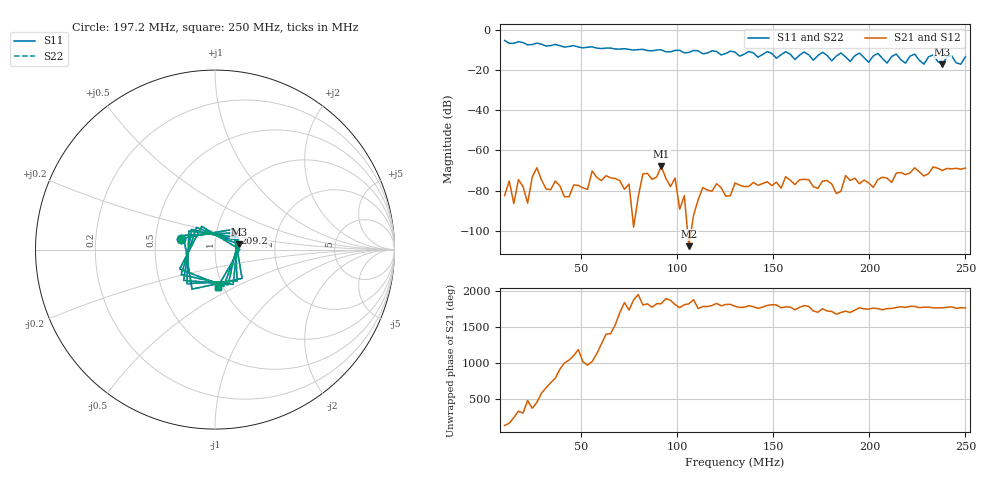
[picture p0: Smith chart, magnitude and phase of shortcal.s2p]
# Hz S RI R 50
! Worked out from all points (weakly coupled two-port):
!   101 points, 10 MHz to 250 MHz, reference 50 ohm
!   highest |S21| = -67.90 dB at 91.6 MHz (marker M1); lowest = -107.6 dB at 106 MHz (marker M2)
!   lowest |S11| = -17.3 dB at 238 MHz (marker M3), VSWR 1.32, Z = 65.3 + j3.87 ohm
!   |S11| at or under -10 dB: 75.67 MHz to 79.24 MHz (3.569 MHz wide, 4.61 % of centre); 82.61 MHz to end of sweep
!   |S22| runs from -17.3 to -5.4 dB; largest |S21 - S12| = 0
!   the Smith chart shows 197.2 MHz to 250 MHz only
!   S11 on the Smith chart (normalised r, x): 197.2 MHz: 0.67, +0.09; 209.2 MHz: 1.23, +0.23; 250 MHz: 0.94, -0.41
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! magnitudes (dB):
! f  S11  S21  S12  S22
! 10 MHz  -5.4  -82.4  -82.4  -5.4
! 17.2 MHz  -6.0  -74.5  -74.5  -6.0
! 22 MHz  -7.6  -86.2  -86.2  -7.6
! 26.8 MHz  -6.7  -68.7  -68.7  -6.7
! 31.6 MHz  -8.2  -79.1  -79.1  -8.2
! 50.8 MHz  -9.1  -78.6  -78.6  -9.1
! 53.2 MHz  -8.8  -79.4  -79.4  -8.8
! 55.6 MHz  -8.6  -70.2  -70.2  -8.6
! 79.6 MHz  -10.0  -83.1  -83.1  -10.0
! 82 MHz  -9.8  -71.7  -71.7  -9.8
! 86.8 MHz  -10.6  -74.4  -74.4  -10.6
! 91.6 MHz  -10.1  -67.9  -67.9  -10.1
! 96.4 MHz  -11.1  -78.0  -78.0  -11.1
! 98.8 MHz  -10.4  -73.7  -73.7  -10.4
! 106 MHz  -11.3  -107.6  -107.6  -11.3
! 130 MHz  -11.2  -76.2  -76.2  -11.2
! 170.8 MHz  -15.2  -78.0  -78.0  -15.2
! 197.2 MHz  -14.0  -74.8  -74.8  -14.0
! 209.2 MHz  -16.7  -73.8  -73.8  -16.7
! 211.6 MHz  -13.4  -75.9  -75.9  -13.4
! 238 MHz  -17.3  -70.0  -70.0  -17.3
! 250 MHz  -13.6  -68.8  -68.8  -13.6
